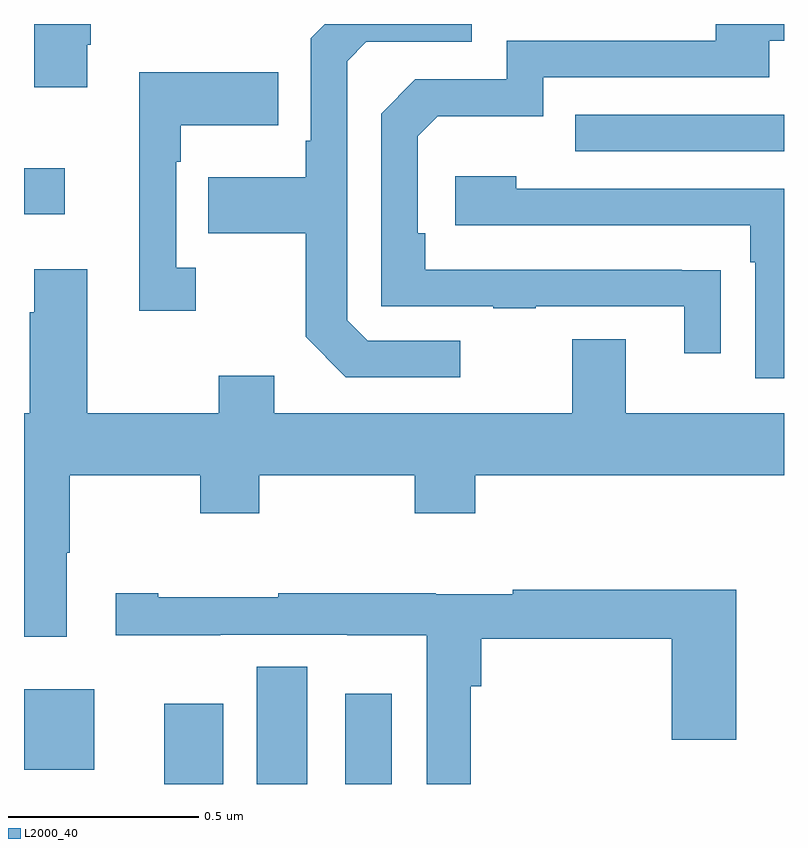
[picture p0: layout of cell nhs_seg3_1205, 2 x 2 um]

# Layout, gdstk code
import gdstk
lib = gdstk.Library(unit=1e-6, precision=1e-09)
def R(c, l, rs):  # rectangles x0, y0, x1, y1
    for r in rs: c.add(gdstk.rectangle(r[:2], r[2:], *l))
def P(c, l, *ps):  # polygons
    for p in ps: c.add(gdstk.Polygon(p, *l))
L2000_40 = (2000, 40)

nhs_seg3_1205 = lib.new_cell('nhs_seg3_1205')
R(nhs_seg3_1205, L2000_40, [(125.369,737.4,125.524,737.611), (125.612,737.4,125.746,737.708), (125.846,737.4,125.968,737.638), (125,737.438,125.185,737.65), (125,738.899,125.107,739.021), (126.451,739.065,127,739.161)])
P(nhs_seg3_1205, L2000_40, [(126.148,738.567),(125.904,738.567),(125.85,738.621),(125.85,739.302),(125.901,739.353),(126.178,739.353),(126.178,739.4),(125.792,739.4),(125.754,739.362),(125.754,739.093),(125.742,739.093),(125.742,738.997),(125.485,738.997),(125.485,738.85),(125.742,738.85),(125.742,738.577),(125.847,738.471),(126.148,738.471)],
  [(126.833,738.752),(126.731,738.752),(126.731,738.753),(126.056,738.753),(126.056,738.85),(126.036,738.85),(126.036,739.104),(126.089,739.157),(126.366,739.157),(126.366,739.26),(126.961,739.26),(126.961,739.356),(127,739.356),(127,739.4),(126.821,739.4),(126.821,739.356),(126.27,739.356),(126.27,739.254),(126.03,739.254),(125.94,739.164),(125.94,738.657),(126.235,738.657),(126.235,738.652),(126.347,738.652),(126.347,738.657),(126.737,738.657),(126.737,738.534),(126.833,738.534)],
  [(125.167,739.345),(125.175,739.345),(125.175,739.4),(125.027,739.4),(125.027,739.233),(125.167,739.233)],
  [(125.452,738.758),(125.4,738.758),(125.4,739.037),(125.413,739.037),(125.413,739.133),(125.669,739.133),(125.669,739.273),(125.303,739.273),(125.303,738.645),(125.452,738.645)],
  [(127,738.966),(126.296,738.966),(126.296,739),(126.135,739),(126.135,738.87),(126.911,738.87),(126.911,738.773),(126.924,738.773),(126.924,738.468),(127,738.468)],
  [(125.113,738.008),(125.121,738.008),(125.121,738.212),(125.464,738.212),(125.464,738.113),(125.619,738.113),(125.619,738.212),(126.028,738.212),(126.028,738.113),(126.188,738.113),(126.188,738.212),(127,738.212),(127,738.376),(126.583,738.376),(126.583,738.571),(126.443,738.571),(126.443,738.376),(125.659,738.376),(125.659,738.475),(125.512,738.475),(125.512,738.376),(125.167,738.376),(125.167,738.754),(125.027,738.754),(125.027,738.641),(125.015,738.641),(125.015,738.376),(125,738.376),(125,737.787),(125.113,737.787)],
  [(126.176,737.657),(126.203,737.657),(126.203,737.782),(126.704,737.782),(126.704,737.517),(126.874,737.517),(126.874,737.911),(126.286,737.911),(126.286,737.9),(126.084,737.9),(126.084,737.902),(125.669,737.902),(125.669,737.892),(125.353,737.892),(125.353,737.902),(125.241,737.902),(125.241,737.792),(125.516,737.792),(125.516,737.793),(125.85,737.793),(125.85,737.792),(126.06,737.792),(126.06,737.4),(126.176,737.4)])

lib.write_gds('nhs_seg3_1205.gds')
